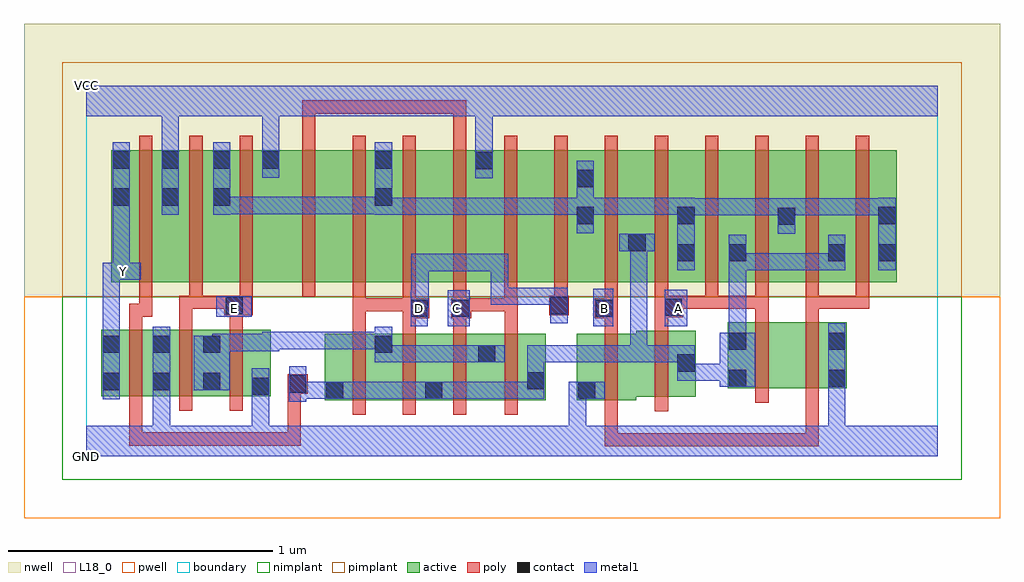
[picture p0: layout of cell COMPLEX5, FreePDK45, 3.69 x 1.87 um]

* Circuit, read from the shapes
.subckt COMPLEX5 A B C D E GND VCC Y
M1 GND n1 Y VSUBS nfet w=0.25u l=0.05u
M2 n2 E GND VSUBS nfet w=0.25u l=0.05u m=2
M3 n2 D n1 VSUBS nfet w=0.25u l=0.05u m=2
M4 n2 C n1 VSUBS nfet w=0.25u l=0.05u m=2
M5 n3 B GND VSUBS nfet w=0.25u l=0.05u
M6 n1 A n3 VSUBS nfet w=0.25u l=0.05u
M7 n4 A n1 VSUBS nfet w=0.25u l=0.05u
M8 GND B n4 VSUBS nfet w=0.25u l=0.05u
M9 VCC n1 Y n5 pfet w=0.5u l=0.05u
M10 n6 E VCC n5 pfet w=0.5u l=0.05u m=2
M11 n7 C VCC n5 pfet w=0.5u l=0.05u
M12 n6 D n7 n5 pfet w=0.5u l=0.05u
M13 n8 D n6 n5 pfet w=0.5u l=0.05u
M14 VCC C n8 n5 pfet w=0.5u l=0.05u
M15 n9 C VCC n5 pfet w=0.5u l=0.05u
M16 n6 D n9 n5 pfet w=0.5u l=0.05u
M17 n1 B n6 n5 pfet w=0.5u l=0.05u m=3
M18 n6 A n1 n5 pfet w=0.5u l=0.05u m=3
.ends

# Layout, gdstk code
import gdstk
lib = gdstk.Library(unit=1e-6, precision=1e-09)
def R(c, l, rs):  # rectangles x0, y0, x1, y1
    for r in rs: c.add(gdstk.rectangle(r[:2], r[2:], *l))
def A(c, l, x, y, w, h, nx, ny, dx, dy):  # array of equal rectangles
    R(c, l, [(x+i*dx, y+j*dy, x+i*dx+w, y+j*dy+h) for i in range(nx) for j in range(ny)])
active = (1, 0)
pwell = (2, 0)
nwell = (3, 0)
nimplant = (4, 0)
pimplant = (5, 0)
poly = (9, 0)
contact = (10, 0)
metal1 = (11, 0)
L18_0 = (18, 0)
boundary = (235, 0)

complex5 = lib.new_cell('COMPLEX5')
R(complex5, active, [(0.902,0.212,0.977,0.462), (0.902,0.212,1.162,0.462), (1.087,0.212,1.352,0.462), (1.277,0.212,1.552,0.462), (1.277,0.212,1.352,0.405), (1.477,0.212,1.737,0.462), (1.662,0.212,1.737,0.462), (1.855,0.212,1.93,0.462), (1.855,0.212,2.08,0.462), (2.08,0.225,2.305,0.475), (2.23,0.225,2.305,0.475), (0.057,0.227,0.322,0.477), (0.247,0.227,0.512,0.477), (0.247,0.227,0.322,0.46), (0.437,0.227,0.697,0.477), (0.437,0.227,0.512,0.467), (0.622,0.227,0.697,0.477), (0.057,0.245,0.132,0.477), (2.425,0.257,2.5,0.507), (2.425,0.257,2.65,0.507), (2.65,0.257,2.875,0.507), (2.8,0.257,2.875,0.507), (1.087,0.297,1.162,0.46), (1.477,0.297,1.552,0.425), (0.095,0.657,0.17,1.157), (0.095,0.657,0.355,1.157), (0.28,0.657,0.355,1.157), (0.28,0.657,0.55,1.157), (0.475,0.657,0.55,1.157), (0.475,0.657,0.735,1.157), (0.66,0.657,0.937,1.157), (0.937,0.657,1.162,1.157), (1.087,0.657,1.162,1.157), (1.087,0.657,1.317,1.157), (1.317,0.657,1.542,1.157), (1.467,0.657,1.7,1.157), (1.7,0.657,1.925,1.157), (1.85,0.657,1.925,1.157), (1.85,0.657,2.12,1.157), (2.045,0.657,2.12,1.07), (2.045,0.657,2.305,1.157), (2.23,0.657,2.305,1.157), (2.23,0.657,2.5,1.157), (2.425,0.657,2.5,1.07), (2.425,0.657,2.685,1.157), (2.61,0.657,2.875,1.157), (2.8,0.657,3.065,1.157), (2.8,0.657,2.875,1.07), (2.99,0.657,3.065,1.157), (0.66,0.777,0.735,1.157), (1.467,0.807,1.542,1.157), (2.61,0.807,2.685,1.157)])
R(complex5, pwell, [(-0.235,-0.235,3.455,0.602)])
R(complex5, nwell, [(-0.235,0.602,3.455,1.635)])
R(complex5, nimplant, [(-0.09,-0.09,3.31,0.602)])
R(complex5, pimplant, [(-0.09,0.602,3.31,1.49)])
A(complex5, poly, 1.007, 0.157, 0.05, 0.36, 3, 1, 0.19, 0)
A(complex5, poly, 0.162, 0.172, 0.05, 0.36, 3, 1, 0.19, 0)
A(complex5, poly, 1.007, 0.547, 0.05, 0.105, 3, 1, 0.19, 0)
A(complex5, poly, 2.15, 0.557, 0.05, 0.095, 5, 1, 0.19, 0)
A(complex5, poly, 2.34, 0.557, 0.05, 0.05, 3, 1, 0.19, 0)
A(complex5, poly, 0.2, 0.602, 0.05, 0.61, 3, 1, 0.19, 0)
A(complex5, poly, 0.817, 0.602, 0.05, 0.61, 4, 1, 0.19, 0)
A(complex5, poly, 1.58, 0.602, 0.05, 0.61, 8, 1, 0.19, 0)
R(complex5, poly, [(1.96,0.037,2.01,0.087), (1.96,0.037,2.01,0.087), (1.96,0.037,2.01,0.087), (1.96,0.037,2.142,0.087), (1.96,0.037,2.01,0.207), (2.092,0.037,2.142,0.087), (2.092,0.037,2.142,0.087), (2.092,0.037,2.142,0.087), (2.092,0.037,2.405,0.087), (2.355,0.037,2.405,0.087), (2.355,0.037,2.405,0.087), (2.355,0.037,2.405,0.087), (2.355,0.037,2.637,0.087), (2.587,0.037,2.637,0.087), (2.587,0.037,2.637,0.087), (2.587,0.037,2.637,0.087), (2.587,0.037,2.77,0.087), (2.72,0.037,2.77,0.087), (2.72,0.037,2.77,0.252), (0.162,0.04,0.212,0.09), (0.162,0.04,0.212,0.09), (0.162,0.04,0.212,0.09), (0.162,0.04,0.44,0.09), (0.162,0.04,0.212,0.222), (0.39,0.04,0.44,0.09), (0.39,0.04,0.68,0.09), (0.63,0.04,0.68,0.09), (0.63,0.04,0.68,0.09), (0.63,0.04,0.68,0.09), (0.63,0.04,0.812,0.09), (0.762,0.04,0.812,0.09), (0.762,0.04,0.812,0.09), (0.762,0.04,0.812,0.09), (0.762,0.04,0.812,0.285), (1.582,0.157,1.632,0.517), (1.96,0.157,2.01,0.517), (2.15,0.17,2.2,0.53), (2.53,0.202,2.58,0.562), (2.72,0.202,2.77,0.562), (0.762,0.235,0.837,0.31), (1.007,0.467,1.057,0.597), (1.197,0.467,1.247,0.572), (1.387,0.467,1.437,0.572), (1.582,0.467,1.632,0.597), (1.96,0.467,2.01,0.572), (2.15,0.48,2.2,0.575), (0.162,0.482,0.212,0.577), (0.352,0.482,0.402,0.607), (0.542,0.482,0.592,0.582), (2.53,0.512,2.58,0.607), (2.72,0.512,2.77,0.607), (1.197,0.522,1.297,0.597), (1.38,0.522,1.455,0.597), (1.922,0.522,2.01,0.597), (2.15,0.525,2.257,0.607), (0.162,0.527,0.25,0.577), (0.2,0.527,0.25,0.652), (0.522,0.532,0.63,0.607), (1.75,0.532,1.825,0.607), (1.007,0.547,1.057,0.597), (1.007,0.547,1.077,0.597), (1.027,0.547,1.077,0.597), (1.027,0.547,1.247,0.597), (1.405,0.547,1.63,0.597), (1.58,0.547,1.63,0.597), (1.58,0.547,1.63,0.597), (1.58,0.547,1.63,0.652), (1.58,0.547,1.632,0.597), (1.96,0.547,2.01,0.652), (0.352,0.557,0.44,0.607), (0.39,0.557,0.44,0.652), (0.39,0.557,0.44,0.607), (0.39,0.557,0.44,0.607), (0.39,0.557,0.572,0.607), (0.58,0.557,0.63,0.652), (1.77,0.557,1.82,0.652), (2.207,0.557,2.257,0.607), (2.207,0.557,2.257,0.607), (2.207,0.557,2.39,0.607), (2.34,0.557,2.58,0.607), (2.34,0.557,2.39,0.607), (2.34,0.557,2.39,0.607), (2.72,0.557,2.96,0.607), (2.72,0.557,2.77,0.607), (2.72,0.557,2.77,0.607), (2.91,0.557,2.96,0.607), (0.817,1.162,0.867,1.345), (1.387,1.162,1.437,1.345), (0.817,1.295,0.867,1.345), (0.817,1.295,0.945,1.345), (0.895,1.295,0.945,1.345), (0.895,1.295,1.115,1.345), (1.065,1.295,1.115,1.345), (1.065,1.295,1.115,1.345), (1.065,1.295,1.115,1.345), (1.065,1.295,1.247,1.345), (1.197,1.295,1.437,1.345), (1.197,1.295,1.247,1.345), (1.387,1.295,1.437,1.345), (1.387,1.295,1.437,1.345), (1.387,1.295,1.437,1.345)])
A(complex5, contact, 0.062, 0.25, 0.065, 0.065, 3, 2, 0.19, 0.14)
R(complex5, contact, [(0.907,0.217,0.972,0.282), (1.282,0.217,1.347,0.282), (1.86,0.217,1.925,0.282), (0.627,0.232,0.692,0.297), (0.767,0.24,0.832,0.305), (1.667,0.252,1.732,0.317), (2.43,0.262,2.495,0.327), (2.805,0.262,2.87,0.327), (2.235,0.32,2.3,0.385), (1.482,0.355,1.547,0.42), (1.092,0.39,1.157,0.455), (2.43,0.402,2.495,0.467), (2.805,0.402,2.87,0.467), (1.227,0.527,1.292,0.592), (1.385,0.527,1.45,0.592), (1.927,0.527,1.992,0.592), (2.187,0.53,2.252,0.595), (0.527,0.537,0.592,0.602), (1.755,0.537,1.82,0.602), (2.235,0.737,2.3,0.802), (2.43,0.737,2.495,0.802), (2.805,0.737,2.87,0.802), (2.995,0.737,3.06,0.802), (2.05,0.775,2.115,0.84), (2.615,0.875,2.68,0.94), (1.855,0.877,1.92,0.942), (2.235,0.877,2.3,0.942), (2.995,0.877,3.06,0.942), (0.1,0.947,0.165,1.012), (0.285,0.947,0.35,1.012), (0.48,0.947,0.545,1.012), (1.092,0.947,1.157,1.012), (1.855,1.017,1.92,1.082), (1.472,1.085,1.537,1.15), (0.1,1.087,0.165,1.152), (0.285,1.087,0.35,1.152), (0.48,1.087,0.545,1.152), (0.665,1.087,0.73,1.152), (1.092,1.087,1.157,1.152)])
R(complex5, metal1, [(0,0,3.22,0.115), (0.252,0.05,0.317,0.28), (0.627,0.05,0.692,0.115), (0.627,0.05,0.692,0.115), (0.627,0.05,0.692,0.115), (0.627,0.05,0.692,0.115), (0.627,0.05,0.692,0.262), (1.825,0.05,1.89,0.115), (1.825,0.05,1.89,0.115), (1.825,0.05,1.89,0.115), (1.825,0.05,1.89,0.115), (1.825,0.05,1.89,0.282), (2.805,0.05,2.87,0.115), (2.805,0.05,2.87,0.115), (2.805,0.05,2.87,0.115), (2.805,0.05,2.87,0.115), (2.805,0.05,2.87,0.292), (0.627,0.197,0.692,0.332), (0.767,0.205,0.832,0.34), (0.062,0.215,0.127,0.49), (0.252,0.215,0.317,0.28), (0.252,0.215,0.317,0.28), (0.252,0.215,0.317,0.28), (0.252,0.215,0.317,0.28), (0.252,0.215,0.317,0.49), (0.767,0.217,0.937,0.282), (0.872,0.217,1.007,0.282), (0.942,0.217,1.007,0.282), (0.942,0.217,1.007,0.282), (0.942,0.217,1.145,0.282), (1.08,0.217,1.145,0.282), (1.08,0.217,1.145,0.282), (1.08,0.217,1.145,0.282), (1.08,0.217,1.312,0.282), (1.247,0.217,1.382,0.282), (1.317,0.217,1.52,0.282), (1.455,0.217,1.52,0.282), (1.455,0.217,1.595,0.282), (1.53,0.217,1.595,0.282), (1.53,0.217,1.682,0.282), (1.617,0.217,1.682,0.282), (1.617,0.217,1.732,0.282), (1.667,0.217,1.732,0.352), (1.825,0.217,1.96,0.282), (2.805,0.227,2.87,0.502), (0.407,0.25,0.542,0.455), (2.395,0.262,2.53,0.467), (2.235,0.285,2.3,0.42), (2.235,0.285,2.46,0.35), (2.395,0.285,2.46,0.35), (2.395,0.285,2.46,0.35), (1.667,0.287,1.732,0.42), (1.092,0.355,1.157,0.42), (1.092,0.355,1.157,0.42), (1.092,0.355,1.157,0.49), (1.092,0.355,1.375,0.42), (1.31,0.355,1.375,0.42), (1.31,0.355,1.512,0.42), (1.447,0.355,1.512,0.42), (1.447,0.355,1.512,0.42), (1.447,0.355,1.582,0.42), (1.667,0.355,1.732,0.42), (1.667,0.355,1.82,0.42), (1.755,0.355,1.82,0.42), (1.755,0.355,1.92,0.42), (1.855,0.355,1.92,0.42), (1.855,0.355,2.115,0.42), (2.05,0.355,2.115,0.42), (2.05,0.355,2.122,0.42), (2.057,0.355,2.122,0.42), (2.057,0.355,2.122,0.42), (2.057,0.355,2.122,0.42), (2.057,0.355,2.3,0.42), (2.057,0.355,2.122,0.84), (2.235,0.355,2.3,0.42), (2.235,0.355,2.3,0.42), (0.477,0.39,0.542,0.455), (0.477,0.39,0.542,0.462), (0.477,0.397,0.73,0.462), (0.665,0.397,0.73,0.47), (2.43,0.402,2.495,0.467), (2.43,0.402,2.495,0.467), (2.43,0.402,2.495,0.767), (0.665,0.405,0.832,0.47), (0.767,0.405,0.832,0.47), (0.767,0.405,0.97,0.47), (0.905,0.405,0.97,0.47), (0.905,0.405,0.97,0.47), (0.905,0.405,0.97,0.47), (0.905,0.405,1.157,0.47), (0.062,0.425,0.127,0.732), (1.227,0.492,1.292,0.627), (1.367,0.492,1.45,0.627), (1.917,0.492,1.992,0.632), (2.187,0.492,2.272,0.63), (1.755,0.502,1.82,0.637), (0.492,0.527,0.627,0.605), (1.227,0.562,1.295,0.627), (1.23,0.562,1.295,0.627), (1.23,0.562,1.295,0.765), (1.53,0.572,1.595,0.637), (1.53,0.572,1.657,0.637), (1.53,0.572,1.595,0.765), (1.592,0.572,1.657,0.637), (1.592,0.572,1.752,0.637), (1.687,0.572,1.752,0.637), (1.687,0.572,1.82,0.637), (0.062,0.667,0.207,0.732), (0.1,0.667,0.165,0.977), (1.23,0.7,1.295,0.765), (1.23,0.7,1.495,0.765), (1.43,0.7,1.495,0.765), (1.43,0.7,1.595,0.765), (1.53,0.7,1.595,0.765), (2.235,0.702,2.3,0.977), (2.43,0.702,2.495,0.837), (2.43,0.702,2.597,0.767), (2.532,0.702,2.597,0.767), (2.532,0.702,2.732,0.767), (2.667,0.702,2.732,0.767), (2.667,0.702,2.87,0.767), (2.805,0.702,2.87,0.767), (2.805,0.702,2.87,0.767), (2.805,0.702,2.87,0.837), (2.995,0.702,3.06,0.977), (2.015,0.775,2.15,0.84), (2.615,0.84,2.68,0.975), (1.855,0.842,1.92,1.117), (2.235,0.91,2.437,0.975), (2.372,0.91,2.437,0.975), (2.372,0.91,2.437,0.975), (2.372,0.91,2.437,0.975), (2.372,0.91,2.68,0.975), (2.615,0.91,2.68,0.975), (2.615,0.91,2.68,0.975), (2.615,0.91,2.87,0.975), (2.805,0.91,2.87,0.975), (2.805,0.91,2.87,0.975), (2.805,0.91,2.87,0.975), (2.805,0.91,3.06,0.975), (2.995,0.91,3.06,0.975), (2.995,0.91,3.06,0.975), (0.1,0.912,0.165,1.187), (0.285,0.912,0.35,1.187), (0.48,0.912,0.545,1.187), (1.092,0.912,1.157,1.187), (1.092,0.912,1.295,0.977), (1.23,0.912,1.295,0.977), (1.23,0.912,1.295,0.977), (1.23,0.912,1.295,0.977), (1.23,0.912,1.52,0.977), (1.455,0.912,1.52,0.977), (1.455,0.912,1.52,0.977), (1.455,0.912,1.52,0.977), (1.455,0.912,1.657,0.977), (1.592,0.912,1.657,0.977), (1.592,0.912,1.752,0.977), (1.687,0.912,1.752,0.977), (1.687,0.912,1.845,0.977), (1.78,0.912,1.845,0.977), (1.78,0.912,1.92,0.977), (1.855,0.912,2.057,0.977), (1.992,0.912,2.057,0.977), (1.992,0.912,2.057,0.977), (1.992,0.912,2.057,0.977), (1.992,0.912,2.3,0.977), (2.235,0.912,2.3,0.977), (2.235,0.912,2.3,0.977), (0.48,0.915,0.545,0.98), (0.48,0.915,0.545,0.98), (0.48,0.915,0.682,0.98), (0.617,0.915,0.682,0.98), (0.617,0.915,0.682,0.98), (0.617,0.915,0.682,0.98), (0.617,0.915,0.97,0.98), (0.905,0.915,0.97,0.98), (0.905,0.915,0.97,0.98), (0.905,0.915,0.97,0.98), (0.905,0.915,1.157,0.98), (1.472,1.05,1.537,1.185), (0.665,1.052,0.73,1.187), (1.472,1.12,1.537,1.35), (0.285,1.122,0.35,1.187), (0.285,1.122,0.35,1.187), (0.285,1.122,0.35,1.35), (0.665,1.122,0.73,1.187), (0.665,1.122,0.73,1.187), (0.665,1.122,0.73,1.35), (0,1.285,3.22,1.4), (1.472,1.285,1.537,1.35), (1.472,1.285,1.537,1.35)])
R(complex5, L18_0, [(0,0,3.22,0.115), (0.252,0.05,0.317,0.28), (0.627,0.05,0.692,0.115), (0.627,0.05,0.692,0.115), (0.627,0.05,0.692,0.115), (0.627,0.05,0.692,0.115), (0.627,0.05,0.692,0.262), (1.825,0.05,1.89,0.115), (1.825,0.05,1.89,0.115), (1.825,0.05,1.89,0.115), (1.825,0.05,1.89,0.115), (1.825,0.05,1.89,0.282), (2.805,0.05,2.87,0.115), (2.805,0.05,2.87,0.115), (2.805,0.05,2.87,0.115), (2.805,0.05,2.87,0.115), (2.805,0.05,2.87,0.292), (0.627,0.197,0.692,0.332), (0.062,0.215,0.127,0.49), (0.252,0.215,0.317,0.49), (0.252,0.215,0.317,0.28), (0.252,0.215,0.317,0.28), (0.252,0.215,0.317,0.28), (0.252,0.215,0.317,0.28), (1.825,0.217,1.96,0.282), (2.805,0.227,2.87,0.502), (0.062,0.425,0.127,0.732), (1.227,0.492,1.292,0.627), (1.367,0.492,1.45,0.627), (1.917,0.492,1.992,0.632), (2.187,0.492,2.272,0.63), (1.755,0.502,1.82,0.637), (0.492,0.527,0.627,0.605), (0.527,0.527,0.592,0.592), (1.227,0.527,1.292,0.592), (1.367,0.527,1.432,0.592), (1.927,0.527,1.992,0.592), (2.207,0.527,2.272,0.592), (1.227,0.562,1.295,0.627), (1.23,0.562,1.295,0.627), (1.23,0.562,1.295,0.765), (1.53,0.572,1.595,0.637), (1.53,0.572,1.595,0.765), (1.53,0.572,1.657,0.637), (1.592,0.572,1.657,0.637), (1.592,0.572,1.752,0.637), (1.687,0.572,1.752,0.637), (1.687,0.572,1.82,0.637), (0.062,0.667,0.207,0.732), (0.1,0.667,0.165,0.977), (0.107,0.667,0.172,0.732), (1.23,0.7,1.295,0.765), (1.23,0.7,1.495,0.765), (1.43,0.7,1.495,0.765), (1.43,0.7,1.595,0.765), (1.53,0.7,1.595,0.765), (0.1,0.912,0.165,1.187), (0.285,0.912,0.35,1.187), (1.472,1.05,1.537,1.185), (0.665,1.052,0.73,1.187), (1.472,1.12,1.537,1.35), (0.285,1.122,0.35,1.187), (0.285,1.122,0.35,1.187), (0.285,1.122,0.35,1.35), (0.665,1.122,0.73,1.187), (0.665,1.122,0.73,1.187), (0.665,1.122,0.73,1.35), (0,1.285,3.22,1.4), (1.472,1.285,1.537,1.35), (1.472,1.285,1.537,1.35)])
R(complex5, boundary, [(0,0,3.22,1.4)])
complex5.add(gdstk.Label('A', (2.24,0.56), layer=11, texttype=0))
complex5.add(gdstk.Label('B', (1.96,0.56), layer=11, texttype=0))
complex5.add(gdstk.Label('C', (1.4,0.56), layer=11, texttype=0))
complex5.add(gdstk.Label('D', (1.26,0.56), layer=11, texttype=0))
complex5.add(gdstk.Label('E', (0.56,0.56), layer=11, texttype=0))
complex5.add(gdstk.Label('Y', (0.14,0.7), layer=11, texttype=0))
complex5.add(gdstk.Label('VCC', (0,1.4), layer=11, texttype=0))
complex5.add(gdstk.Label('GND', (0,0), layer=11, texttype=0))

lib.write_gds('COMPLEX5.gds')
